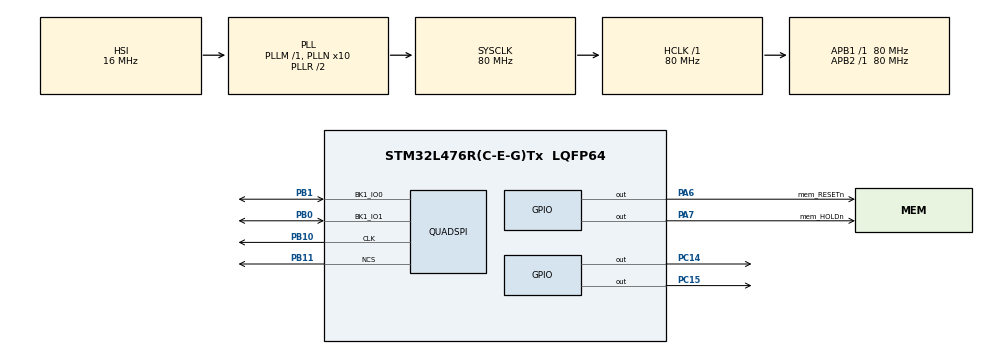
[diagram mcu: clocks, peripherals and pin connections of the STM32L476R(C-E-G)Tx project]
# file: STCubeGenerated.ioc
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Dma.QUADSPI.0.Direction=DMA_PERIPH_TO_MEMORY
Dma.QUADSPI.0.Instance=DMA1_Channel5
Dma.QUADSPI.0.MemDataAlignment=DMA_MDATAALIGN_BYTE
Dma.QUADSPI.0.MemInc=DMA_MINC_ENABLE
Dma.QUADSPI.0.Mode=DMA_NORMAL
Dma.QUADSPI.0.PeriphDataAlignment=DMA_PDATAALIGN_BYTE
Dma.QUADSPI.0.PeriphInc=DMA_PINC_DISABLE
Dma.QUADSPI.0.Priority=DMA_PRIORITY_LOW
Dma.Request0=QUADSPI
Mcu.Family=STM32L4
Mcu.Name=STM32L476R(C-E-G)Tx
Mcu.Package=LQFP64
NVIC.DMA1_Channel5_IRQn=true\:0\:0\:false\:false\:true\:false
NVIC.PriorityGroup=NVIC_PRIORITYGROUP_4
PA13\ (JTMS-SWDIO).Mode=Serial_Wire
PA13\ (JTMS-SWDIO).Signal=SYS_JTMS-SWDIO
PA14\ (JTCK-SWCLK).Mode=Serial_Wire
PA14\ (JTCK-SWCLK).Signal=SYS_JTCK-SWCLK
PA6.GPIO_Label=mem_RESETn
PA6.PinState=GPIO_PIN_SET
PA6.Signal=GPIO_Output
PA7.GPIO_Label=mem_HOLDn
PA7.PinState=GPIO_PIN_SET
PA7.Signal=GPIO_Output
PB0.Mode=Single Bank 2IOs
PB0.Signal=QUADSPI_BK1_IO1
PB1.Mode=Single Bank 2IOs
PB1.Signal=QUADSPI_BK1_IO0
PB10.Mode=Single Bank 2IOs
PB10.Signal=QUADSPI_CLK
PB11.Mode=Single Bank 2IOs
PB11.Signal=QUADSPI_NCS
PC14-OSC32_IN\ (PC14).Signal=GPIO_Output
PC15-OSC32_OUT\ (PC15).Signal=GPIO_Output
ProjectManager.HeapSize=0x200
ProjectManager.StackSize=0x400
ProjectManager.TargetToolchain=Makefile
QUADSPI.ClockPrescaler-Single\ Bank\ 2IOs=3
QUADSPI.FlashSize-Single\ Bank\ 2IOs=25
RCC.ADCFreq_Value=64000000
RCC.AHBFreq_Value=80000000
RCC.APB1Freq_Value=80000000
RCC.APB1TimFreq_Value=80000000
RCC.APB2Freq_Value=80000000
RCC.APB2TimFreq_Value=80000000
RCC.CortexFreq_Value=80000000
RCC.HCLKFreq_Value=80000000
RCC.HSE_VALUE=8000000
RCC.HSI_VALUE=16000000
RCC.LSE_VALUE=32768
RCC.MSI_VALUE=4000000
RCC.PLLN=10
RCC.PLLSourceVirtual=RCC_PLLSOURCE_HSI
RCC.SYSCLKFreq_VALUE=80000000
RCC.SYSCLKSource=RCC_SYSCLKSOURCE_PLLCLK
RCC.USBFreq_Value=64000000
RCC.VCOOutputFreq_Value=160000000
board=STCubeGenerated

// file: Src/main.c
/**
  ******************************************************************************
  * File Name          : main.c
  * Description        : Main program body
  ******************************************************************************
  ** This notice applies to any and all portions of this file
  * that are not between comment pairs USER CODE BEGIN and
  * USER CODE END. Other portions of this file, whether
  * inserted by the user or by software development tools
  * are owned by their respective copyright owners.
  *
  * COPYRIGHT(c) 2018 STMicroelectronics
  *
  * Redistribution and use in source and binary forms, with or without modification,
  * are permitted provided that the following conditions are met:
  *   1. Redistributions of source code must retain the above copyright notice,
  *      this list of conditions and the following disclaimer.
  *   2. Redistributions in binary form must reproduce the above copyright notice,
  *      this list of conditions and the following disclaimer in the documentation
  *      and/or other materials provided with the distribution.
  *   3. Neither the name of STMicroelectronics nor the names of its contributors
  *      may be used to endorse or promote products derived from this software
  *      without specific prior written permission.
  *
  * THIS SOFTWARE IS PROVIDED BY THE COPYRIGHT HOLDERS AND CONTRIBUTORS "AS IS"
  * AND ANY EXPRESS OR IMPLIED WARRANTIES, INCLUDING, BUT NOT LIMITED TO, THE
  * IMPLIED WARRANTIES OF MERCHANTABILITY AND FITNESS FOR A PARTICULAR PURPOSE ARE
  * DISCLAIMED. IN NO EVENT SHALL THE COPYRIGHT HOLDER OR CONTRIBUTORS BE LIABLE
  * FOR ANY DIRECT, INDIRECT, INCIDENTAL, SPECIAL, EXEMPLARY, OR CONSEQUENTIAL
  * DAMAGES (INCLUDING, BUT NOT LIMITED TO, PROCUREMENT OF SUBSTITUTE GOODS OR
  * SERVICES; LOSS OF USE, DATA, OR PROFITS; OR BUSINESS INTERRUPTION) HOWEVER
  * CAUSED AND ON ANY THEORY OF LIABILITY, WHETHER IN CONTRACT, STRICT LIABILITY,
  * OR TORT (INCLUDING NEGLIGENCE OR OTHERWISE) ARISING IN ANY WAY OUT OF THE USE
  * OF THIS SOFTWARE, EVEN IF ADVISED OF THE POSSIBILITY OF SUCH DAMAGE.
  *
  ******************************************************************************
  */

#include "main.h"
#include "stm32l4xx_hal.h"

QSPI_HandleTypeDef hqspi;
DMA_HandleTypeDef hdma_quadspi;

/* USER CODE BEGIN PV */
uint8_t QSPI_AutoPollingMemReady(uint32_t Timeout)
{
    QSPI_CommandTypeDef     s_command;
    QSPI_AutoPollingTypeDef s_config;

    /* Configure automatic polling mode to wait for memory ready */
    s_command.InstructionMode   = QSPI_INSTRUCTION_1_LINE;
    s_command.Instruction       = 0x05; /* Read Status Reg */
    s_command.AddressMode       = QSPI_ADDRESS_NONE;
    s_command.AlternateByteMode = QSPI_ALTERNATE_BYTES_NONE;
    s_command.DataMode          = QSPI_DATA_1_LINE;
    s_command.DummyCycles       = 0;
    s_command.DdrMode           = QSPI_DDR_MODE_DISABLE;
    s_command.DdrHoldHalfCycle  = QSPI_DDR_HHC_ANALOG_DELAY;
    s_command.SIOOMode          = QSPI_SIOO_INST_EVERY_CMD;

    s_config.Match           = 0x00;
    s_config.Mask            = 0x01; /* Busy Bit */
    s_config.MatchMode       = QSPI_MATCH_MODE_AND;
    s_config.StatusBytesSize = 1;
    s_config.Interval        = 0x10;
    s_config.AutomaticStop   = QSPI_AUTOMATIC_STOP_ENABLE;

    if (HAL_QSPI_AutoPolling(&hqspi, &s_command, &s_config, Timeout) != HAL_OK)
    {
        return HAL_ERROR;
    }

    return HAL_OK;
}

uint8_t QSPI_WriteEnable()
{
    QSPI_CommandTypeDef     s_command;
    QSPI_AutoPollingTypeDef s_config;

    /* Enable write operations */
    s_command.InstructionMode   = QSPI_INSTRUCTION_1_LINE;
    s_command.Instruction       = WRITE_ENABLE_CMD;
    s_command.AddressMode       = QSPI_ADDRESS_NONE;
    s_command.AlternateByteMode = QSPI_ALTERNATE_BYTES_NONE;
    s_command.DataMode          = QSPI_DATA_NONE;
    s_command.DummyCycles       = 0;
    s_command.DdrMode           = QSPI_DDR_MODE_DISABLE;
    s_command.DdrHoldHalfCycle  = QSPI_DDR_HHC_ANALOG_DELAY;
    s_command.SIOOMode          = QSPI_SIOO_INST_EVERY_CMD;

    if (HAL_QSPI_Command(&hqspi, &s_command, HAL_QPSI_TIMEOUT_DEFAULT_VALUE) != HAL_OK)
    {
        return HAL_ERROR;
    }

//    /* Configure automatic polling mode to wait for write enabling */
//    s_config.Match           = 0x02;
//    s_config.Mask            = 0x02; /* Write Enable */
//    s_config.MatchMode       = QSPI_MATCH_MODE_AND;
//    s_config.StatusBytesSize = 1;
//    s_config.Interval        = 0x10;
//    s_config.AutomaticStop   = QSPI_AUTOMATIC_STOP_ENABLE;
//
//    s_command.Instruction    = 0x05; /* Status Reg */
//    s_command.DataMode       = QSPI_DATA_1_LINE;
//    s_command.NbData         = 1;
//
//    if (HAL_QSPI_AutoPolling(&hqspi, &s_command, &s_config, HAL_QPSI_TIMEOUT_DEFAULT_VALUE) != HAL_OK)
//    {
//        return HAL_ERROR;
//    }

    return HAL_OK;
}

static uint8_t QSPI_ResetMemory(void)
{
    QSPI_CommandTypeDef s_command;

    /* Initialize the reset enable command */
    s_command.InstructionMode   = QSPI_INSTRUCTION_1_LINE;
    s_command.Instruction       = 0x66; /* RESET */
    s_command.AddressMode       = QSPI_ADDRESS_NONE;
    s_command.AlternateByteMode = QSPI_ALTERNATE_BYTES_NONE;
    s_command.DataMode          = QSPI_DATA_NONE;
    s_command.DummyCycles       = 0;
    s_command.DdrMode           = QSPI_DDR_MODE_DISABLE;
    s_command.DdrHoldHalfCycle  = QSPI_DDR_HHC_ANALOG_DELAY;
    s_command.SIOOMode          = QSPI_SIOO_INST_EVERY_CMD;

    /* Send the command */
    if (HAL_QSPI_Command(&hqspi, &s_command, HAL_QPSI_TIMEOUT_DEFAULT_VALUE) != HAL_OK)
    {
        return HAL_ERROR;
    }

    /* Send the reset memory command */
    s_command.Instruction = 0x99; /* RESET */
    if (HAL_QSPI_Command(&hqspi, &s_command, HAL_QPSI_TIMEOUT_DEFAULT_VALUE) != HAL_OK)
    {
        return HAL_ERROR;
    }

    /* Configure automatic polling mode to wait the memory is ready */
    if (QSPI_AutoPollingMemReady(HAL_QPSI_TIMEOUT_DEFAULT_VALUE) != HAL_OK)
    {
        return HAL_ERROR;
    }

    return HAL_OK;
}

static uint8_t QSPI_BlockErase(uint32_t address)
{
    QSPI_CommandTypeDef s_command;

    /* Initialize the reset enable command */
    s_command.InstructionMode   = QSPI_INSTRUCTION_1_LINE;
    s_command.Instruction       = 0x20; /* Block erase */
    s_command.AddressMode       = 0x000000;
    s_command.AlternateByteMode = QSPI_ALTERNATE_BYTES_NONE;
    s_command.DataMode          = QSPI_DATA_NONE;
    s_command.DummyCycles       = 0;
    s_command.DdrMode           = QSPI_DDR_MODE_DISABLE;
    s_command.DdrHoldHalfCycle  = QSPI_DDR_HHC_ANALOG_DELAY;
    s_command.SIOOMode          = QSPI_SIOO_INST_EVERY_CMD;

		/* Enable write operations */
		if (QSPI_WriteEnable() != HAL_OK)
		{
				return HAL_ERROR;
		}

    /* Send the command */
    if (HAL_QSPI_Command(&hqspi, &s_command, HAL_QPSI_TIMEOUT_DEFAULT_VALUE) != HAL_OK)
    {
        return HAL_ERROR;
    }

    /* Configure automatic polling mode to wait the memory is ready */
    if (QSPI_AutoPollingMemReady(HAL_QPSI_TIMEOUT_DEFAULT_VALUE) != HAL_OK)
    {
        return HAL_ERROR;
    }

    return HAL_OK;
}

uint8_t BSP_QSPI_Read(uint8_t *pData, uint32_t ReadAddr, uint32_t Size)
{
    QSPI_CommandTypeDef s_command;

    /* Initialize the read command */
    s_command.InstructionMode   = QSPI_INSTRUCTION_1_LINE;
    s_command.Instruction       = 0x03;
    s_command.AddressMode       = QSPI_ADDRESS_1_LINE;
    s_command.AddressSize       = QSPI_ADDRESS_24_BITS;
    s_command.Address           = 0x000000;
    s_command.AlternateByteMode = QSPI_ALTERNATE_BYTES_NONE;
    s_command.DataMode          = QSPI_DATA_4_LINES;
    s_command.DummyCycles       = 8;
    s_command.NbData            = Size;
    s_command.DdrMode           = QSPI_DDR_MODE_DISABLE;
    s_command.DdrHoldHalfCycle  = QSPI_DDR_HHC_ANALOG_DELAY;
    s_command.SIOOMode          = QSPI_SIOO_INST_EVERY_CMD;

    /* Configure the command */
    if (HAL_QSPI_Command(&hqspi, &s_command, HAL_QPSI_TIMEOUT_DEFAULT_VALUE) != HAL_OK)
    {
        return HAL_ERROR;
    }

    /* Reception of the data */
    if (HAL_QSPI_Receive(&hqspi, pData, HAL_QPSI_TIMEOUT_DEFAULT_VALUE) != HAL_OK)
    {
        return HAL_ERROR;
    }

    return HAL_OK;
}

uint8_t ReadStatusRegister(uint8_t *pData)
{
    QSPI_CommandTypeDef s_command;

    /* Initialize the read command */
    s_command.InstructionMode   = QSPI_INSTRUCTION_1_LINE;
    s_command.Instruction       = READ_STATUS_REG_CMD;
    s_command.AddressMode       = QSPI_ADDRESS_1_LINE;
    s_command.AddressSize       = QSPI_ADDRESS_24_BITS;
    s_command.Address           = QSPI_ADDRESS_NONE;
    s_command.AlternateByteMode = QSPI_ALTERNATE_BYTES_NONE;
    s_command.DataMode          = QSPI_DATA_4_LINES;
    s_command.DummyCycles       = 8;
    s_command.NbData            = 0x01;
    s_command.DdrMode           = QSPI_DDR_MODE_DISABLE;
    s_command.DdrHoldHalfCycle  = QSPI_DDR_HHC_ANALOG_DELAY;
    s_command.SIOOMode          = QSPI_SIOO_INST_ONLY_FIRST_CMD;

    /* Configure the command */
    if (HAL_QSPI_Command(&hqspi, &s_command, HAL_QPSI_TIMEOUT_DEFAULT_VALUE) != HAL_OK)
    {
        return HAL_ERROR;
    }

    /* Reception of the data */
    if (HAL_QSPI_Receive(&hqspi, pData, HAL_QPSI_TIMEOUT_DEFAULT_VALUE) != HAL_OK)
    {
        return HAL_ERROR;
    }

    return HAL_OK;
}

/* USER CODE END PV */

void SystemClock_Config(void);
static void MX_GPIO_Init(void);
static void MX_DMA_Init(void);
static void MX_QUADSPI_Init(void);

/* USER CODE BEGIN PFP */

uint8_t spiTxBuf[2], spiRxBuf[3]; // Buffers to transmit and receive data
uint8_t data2Mem[260]={0}; // 1 byte command + 3 bytes address + 256 data
uint8_t mem2micro[256]={0}; // 1 byte command + 3 bytes address + 256 data
/* USER CODE END PFP */

int main(void)
{

  /* MCU Configuration----------------------------------------------------------*/

  /* Reset of all peripherals, Initializes the Flash interface and the Systick. */
  HAL_Init();

  /* Configure the system clock */
  SystemClock_Config();

  /* Initialize all configured peripherals */
  MX_GPIO_Init();
  MX_DMA_Init();
  MX_QUADSPI_Init();

  /* USER CODE BEGIN 2 */
    /* QSPI memory reset */
//	if(QSPI_BlockErase((uint32_t)0)!= HAL_OK)
//	{
//		return HAL_ERROR;
//	}

HAL_GPIO_WritePin(GPIOA,GPIO_PIN_6, GPIO_PIN_RESET);
HAL_GPIO_WritePin(GPIOA,GPIO_PIN_7, GPIO_PIN_RESET);

//QSPI_CommandTypeDef s_command;
uint8_t pData[3] ={0};
 pData[0] = WRITE_ENABLE_CMD;

if (HAL_QSPI_Transmit(&hqspi, &pData[0], HAL_QPSI_TIMEOUT_DEFAULT_VALUE) != HAL_OK)
{
		return HAL_ERROR;
}

pData[0] = 5;

if(ReadStatusRegister(pData)!= HAL_OK)
{
	return HAL_ERROR;
}

//uint32_t address = 0;

//s_command.InstructionMode   = QSPI_INSTRUCTION_1_LINE;
//    //s_command.Instruction       = READ_ID_CMD2;
//		//s_command.Instruction       = PAGE_PROG_CMD; // Page program
//		s_command.Instruction       = READ_STATUS_REG_CMD; // write enable
//    s_command.AddressMode       = QSPI_ADDRESS_1_LINE;
//    s_command.AddressSize       = QSPI_ADDRESS_24_BITS;
//    s_command.Address           = 0x000000;
//    s_command.AlternateByteMode = QSPI_ALTERNATE_BYTES_NONE;
//    s_command.DataMode          = QSPI_DATA_1_LINE;
//    s_command.DummyCycles       = 0;
//    s_command.NbData            = 2;
//    s_command.DdrMode           = QSPI_DDR_MODE_DISABLE;
//    s_command.DdrHoldHalfCycle  = QSPI_DDR_HHC_ANALOG_DELAY;
//    s_command.SIOOMode          = QSPI_SIOO_INST_EVERY_CMD;

// assign command
data2Mem[0] = PAGE_PROG_CMD;
data2Mem[1] = 0xFF;
data2Mem[2] = 0x01;
data2Mem[3] = 0x00;

for(int i=0;i<260;i++){

	data2Mem[i+4] = i;

}

///* Enable write operations */
//if (QSPI_WriteEnable() != HAL_OK)
//{
//		return HAL_ERROR;
//}
//// Write 256 bits in the page 2
//if (HAL_QSPI_Transmit(&hqspi, data2Mem, HAL_QPSI_TIMEOUT_DEFAULT_VALUE) != HAL_OK)
//{
//		return HAL_ERROR;
//}

///* Configure automatic polling mode to wait for end of program */
//if (QSPI_AutoPollingMemReady(HAL_QPSI_TIMEOUT_DEFAULT_VALUE) != HAL_OK)
//{
//		return HAL_ERROR;
//}

// Read 256 bits
//mem2micro[0] = READ_CMD;
//mem2micro[1] = 0xFF;
//mem2micro[2] = 0x01;
//mem2micro[3] = 0x00;

//if (HAL_QSPI_Transmit(&hqspi, mem2micro, HAL_QPSI_TIMEOUT_DEFAULT_VALUE) != HAL_OK){
//        Error_Handler();
//}

if (BSP_QSPI_Read(mem2micro, (uint32_t) 1000, (uint32_t)256) != HAL_OK){
        Error_Handler();
}

//uint8_t BSP_QSPI_Read(uint8_t *pData, uint32_t ReadAddr, uint32_t Size)

//if (HAL_QSPI_Command(&hqspi, &s_command, HAL_QPSI_TIMEOUT_DEFAULT_VALUE) != HAL_OK){
//        Error_Handler();
//}

//if (HAL_QSPI_Receive(&hqspi, pData, HAL_QPSI_TIMEOUT_DEFAULT_VALUE) != HAL_OK){
//        Error_Handler();
//}

  /* USER CODE END 2 */

  /* Infinite loop */
  while (1)
  {
	}

}

/** System Clock Configuration
*/
void SystemClock_Config(void)
{

  RCC_OscInitTypeDef RCC_OscInitStruct;
  RCC_ClkInitTypeDef RCC_ClkInitStruct;

    /**Initializes the CPU, AHB and APB busses clocks
    */
  RCC_OscInitStruct.OscillatorType = RCC_OSCILLATORTYPE_HSI;
  RCC_OscInitStruct.HSIState = RCC_HSI_ON;
  RCC_OscInitStruct.HSICalibrationValue = 16;
  RCC_OscInitStruct.PLL.PLLState = RCC_PLL_ON;
  RCC_OscInitStruct.PLL.PLLSource = RCC_PLLSOURCE_HSI;
  RCC_OscInitStruct.PLL.PLLM = 1;
  RCC_OscInitStruct.PLL.PLLN = 10;
  RCC_OscInitStruct.PLL.PLLP = RCC_PLLP_DIV7;
  RCC_OscInitStruct.PLL.PLLQ = RCC_PLLQ_DIV2;
  RCC_OscInitStruct.PLL.PLLR = RCC_PLLR_DIV2;
  if (HAL_RCC_OscConfig(&RCC_OscInitStruct) != HAL_OK)
  {
    _Error_Handler(__FILE__, __LINE__);
  }

    /**Initializes the CPU, AHB and APB busses clocks
    */
  RCC_ClkInitStruct.ClockType = RCC_CLOCKTYPE_HCLK|RCC_CLOCKTYPE_SYSCLK
                              |RCC_CLOCKTYPE_PCLK1|RCC_CLOCKTYPE_PCLK2;
  RCC_ClkInitStruct.SYSCLKSource = RCC_SYSCLKSOURCE_PLLCLK;
  RCC_ClkInitStruct.AHBCLKDivider = RCC_SYSCLK_DIV1;
  RCC_ClkInitStruct.APB1CLKDivider = RCC_HCLK_DIV1;
  RCC_ClkInitStruct.APB2CLKDivider = RCC_HCLK_DIV1;

  if (HAL_RCC_ClockConfig(&RCC_ClkInitStruct, FLASH_LATENCY_3) != HAL_OK)
  {
    _Error_Handler(__FILE__, __LINE__);
  }

    /**Configure the main internal regulator output voltage
    */
  if (HAL_PWREx_ControlVoltageScaling(PWR_REGULATOR_VOLTAGE_SCALE1) != HAL_OK)
  {
    _Error_Handler(__FILE__, __LINE__);
  }

    /**Configure the Systick interrupt time
    */
  HAL_SYSTICK_Config(HAL_RCC_GetHCLKFreq()/1000);

    /**Configure the Systick
    */
  HAL_SYSTICK_CLKSourceConfig(SYSTICK_CLKSOURCE_HCLK);

  /* SysTick_IRQn interrupt configuration */
  HAL_NVIC_SetPriority(SysTick_IRQn, 0, 0);
}

/* QUADSPI init function */
static void MX_QUADSPI_Init(void)
{

  /* QUADSPI parameter configuration*/
  hqspi.Instance = QUADSPI;
  hqspi.Init.ClockPrescaler = 7;
  hqspi.Init.FifoThreshold = 1;
  hqspi.Init.SampleShifting = QSPI_SAMPLE_SHIFTING_NONE;
  hqspi.Init.FlashSize = 25;
  hqspi.Init.ChipSelectHighTime = QSPI_CS_HIGH_TIME_1_CYCLE;
  hqspi.Init.ClockMode = QSPI_CLOCK_MODE_3;
  if (HAL_QSPI_Init(&hqspi) != HAL_OK)
  {
    _Error_Handler(__FILE__, __LINE__);
  }

}

static void MX_DMA_Init(void)
{
  /* DMA controller clock enable */
  __HAL_RCC_DMA1_CLK_ENABLE();

  /* DMA interrupt init */
  /* DMA1_Channel5_IRQn interrupt configuration */
  HAL_NVIC_SetPriority(DMA1_Channel5_IRQn, 0, 0);
  HAL_NVIC_EnableIRQ(DMA1_Channel5_IRQn);

}

/** Configure pins as
        * Analog
        * Input
        * Output
        * EVENT_OUT
        * EXTI
*/
static void MX_GPIO_Init(void)
{

  GPIO_InitTypeDef GPIO_InitStruct;

  /* GPIO Ports Clock Enable */
  __HAL_RCC_GPIOC_CLK_ENABLE();
  __HAL_RCC_GPIOA_CLK_ENABLE();
  __HAL_RCC_GPIOB_CLK_ENABLE();

  /*Configure GPIO pin Output Level */
  HAL_GPIO_WritePin(GPIOC, GPIO_PIN_14|GPIO_PIN_15, GPIO_PIN_RESET);

  /*Configure GPIO pin Output Level */
  HAL_GPIO_WritePin(GPIOA, mem_RESETn_Pin|mem_HOLDn_Pin, GPIO_PIN_SET);

  /*Configure GPIO pins : PC14 PC15 */
  GPIO_InitStruct.Pin = GPIO_PIN_14|GPIO_PIN_15;
  GPIO_InitStruct.Mode = GPIO_MODE_OUTPUT_PP;
  GPIO_InitStruct.Pull = GPIO_NOPULL;
  GPIO_InitStruct.Speed = GPIO_SPEED_FREQ_LOW;
  HAL_GPIO_Init(GPIOC, &GPIO_InitStruct);

  /*Configure GPIO pins : mem_RESETn_Pin mem_HOLDn_Pin */
  GPIO_InitStruct.Pin = mem_RESETn_Pin|mem_HOLDn_Pin;
  GPIO_InitStruct.Mode = GPIO_MODE_OUTPUT_PP;
  GPIO_InitStruct.Pull = GPIO_NOPULL;
  GPIO_InitStruct.Speed = GPIO_SPEED_FREQ_LOW;
  HAL_GPIO_Init(GPIOA, &GPIO_InitStruct);

}

void _Error_Handler(char * file, int line)
{
  while(1)
  {
  }
}

/************************ (C) COPYRIGHT STMicroelectronics *****END OF FILE****/
